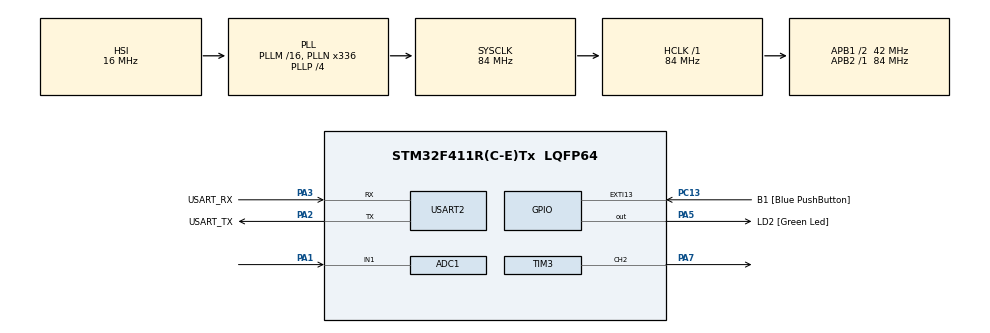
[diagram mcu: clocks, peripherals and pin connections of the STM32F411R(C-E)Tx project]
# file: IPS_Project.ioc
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ADC1.Channel-1\#ChannelRegularConversion=ADC_CHANNEL_1
ADC1.ContinuousConvMode=ENABLE
ADC1.NbrOfConversionFlag=1
ADC1.Rank-1\#ChannelRegularConversion=1
ADC1.SamplingTime-1\#ChannelRegularConversion=ADC_SAMPLETIME_3CYCLES
ADC1.master=1
Mcu.Family=STM32F4
Mcu.Name=STM32F411R(C-E)Tx
Mcu.Package=LQFP64
NVIC.PriorityGroup=NVIC_PRIORITYGROUP_0
PA1.Signal=SharedAnalog_PA1
PA13.GPIO_Label=TMS
PA13.Mode=Serial_Wire
PA13.Signal=SYS_JTMS-SWDIO
PA14.GPIO_Label=TCK
PA14.Mode=Serial_Wire
PA14.Signal=SYS_JTCK-SWCLK
PA2.GPIO_Label=USART_TX
PA2.Mode=Asynchronous
PA2.Signal=USART2_TX
PA3.GPIO_Label=USART_RX
PA3.Mode=Asynchronous
PA3.Signal=USART2_RX
PA5.GPIO_Label=LD2 [Green Led]
PA5.Signal=GPIO_Output
PA7.Signal=S_TIM3_CH2
PB3.GPIO_Label=SWO
PB3.Signal=SYS_JTDO-SWO
PC13-ANTI_TAMP.GPIO_Label=B1 [Blue PushButton]
PC13-ANTI_TAMP.GPIO_ModeDefaultEXTI=GPIO_MODE_IT_FALLING
PC13-ANTI_TAMP.Signal=GPXTI13
PC14-OSC32_IN.Mode=LSE-External-Oscillator
PC14-OSC32_IN.Signal=RCC_OSC32_IN
PC15-OSC32_OUT.Mode=LSE-External-Oscillator
PC15-OSC32_OUT.Signal=RCC_OSC32_OUT
PH0\ -\ OSC_IN.Mode=HSE-External-Clock-Source
PH0\ -\ OSC_IN.Signal=RCC_OSC_IN
PH1\ -\ OSC_OUT.Mode=HSE-External-Clock-Source
PH1\ -\ OSC_OUT.Signal=RCC_OSC_OUT
ProjectManager.HeapSize=0x200
ProjectManager.StackSize=0x400
ProjectManager.TargetToolchain=STM32CubeIDE
RCC.48MHZClocksFreq_Value=84000000
RCC.AHBFreq_Value=84000000
RCC.APB1CLKDivider=RCC_HCLK_DIV2
RCC.APB1Freq_Value=42000000
RCC.APB1TimFreq_Value=84000000
RCC.APB2Freq_Value=84000000
RCC.APB2TimFreq_Value=84000000
RCC.CortexFreq_Value=84000000
RCC.FLatency-AdvancedSettings=FLASH_LATENCY_2
RCC.HCLKFreq_Value=84000000
RCC.HSE_VALUE=8000000
RCC.HSI_VALUE=16000000
RCC.PLLN=336
RCC.PLLP=RCC_PLLP_DIV4
RCC.SYSCLKFreq_VALUE=84000000
RCC.SYSCLKSource=RCC_SYSCLKSOURCE_PLLCLK
RCC.VCOOutputFreq_Value=336000000
SH.S_TIM3_CH2.0=TIM3_CH2,PWM Generation2 CH2
SH.SharedAnalog_PA1.0=GPIO_Analog
SH.SharedAnalog_PA1.1=ADC1_IN1,IN1
TIM2.Period=9999
TIM2.Prescaler=1
TIM3.Channel-PWM\ Generation2\ CH2=TIM_CHANNEL_2
TIM3.Period=20000
TIM3.Prescaler=84
USART2.VirtualMode=VM_ASYNC
VP_TIM2_VS_ClockSourceINT.Mode=Internal
VP_TIM3_VS_ClockSourceINT.Mode=Internal
board=NUCLEO-F411RE

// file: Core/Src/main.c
/* USER CODE BEGIN Header */
/**
  ******************************************************************************
  * @file           : main.c
  * @brief          : Main program body
  ******************************************************************************
  * @attention
  *
  * Copyright (c) 2023 STMicroelectronics.
  * All rights reserved.
  *
  * This software is licensed under terms that can be found in the LICENSE file
  * in the root directory of this software component.
  * If no LICENSE file comes with this software, it is provided AS-IS.
  *
  ******************************************************************************
  */
/* USER CODE END Header */
#include "main.h"

ADC_HandleTypeDef hadc1;

TIM_HandleTypeDef htim2;
TIM_HandleTypeDef htim3;

UART_HandleTypeDef huart2;

void SystemClock_Config(void);
static void MX_GPIO_Init(void);
static void MX_USART2_UART_Init(void);
static void MX_ADC1_Init(void);
static void MX_TIM3_Init(void);
static void MX_TIM2_Init(void);

int main(void)
{

  /* MCU Configuration--------------------------------------------------------*/

  /* Reset of all peripherals, Initializes the Flash interface and the Systick. */
  HAL_Init();

  /* Configure the system clock */
  SystemClock_Config();

  /* Initialize all configured peripherals */
  MX_GPIO_Init();
  MX_USART2_UART_Init();
  MX_ADC1_Init();
  MX_TIM3_Init();
  MX_TIM2_Init();
  /* USER CODE BEGIN 2 */
  HAL_TIM_PWM_Start(&htim3, TIM_CHANNEL_2);
  int test_var = 0;
  /* USER CODE END 2 */

  /* Infinite loop */
  while (1)
  {

    /* USER CODE BEGIN 3 */
	HAL_ADC_Start(&hadc1);
	HAL_ADC_PollForEvent(&hadc1, ADC_OVR_EVENT, 10);
	uint32_t ADCValue = HAL_ADC_GetValue(&hadc1);
	float Voltage_Data=	ADCValue*(3.3/4095);

	char str[25];
	char str2[25];
	sprintf(str, "%.2f\r\n", Voltage_Data);
	snprintf(str2,25, "%lu\r\n", ADCValue);

	HAL_UART_Transmit(&huart2,(uint8_t*)str, strlen(str), 5000);
	HAL_UART_Transmit(&huart2,(uint8_t*)str2, strlen(str2), 5000);
/*
	char values[1];
	values[0] = str;
	//values[1] = str2;
	//values[2] = "hello";
	HAL_UART_Transmit(&huart2, (uint8_t*)values, sizeof(values), 5000);*/

	HAL_GPIO_TogglePin(GPIOA, GPIO_PIN_10);

	int x = (int)(1500 + 450*(Voltage_Data-2.2));
	if(abs(x - test_var) > 75)
	{
		__HAL_TIM_SET_COMPARE(&htim3,TIM_CHANNEL_2, x);
		test_var = x;
	}
	HAL_Delay(10);

  }
  /* USER CODE END 3 */
}

void SystemClock_Config(void)
{
  RCC_OscInitTypeDef RCC_OscInitStruct = {0};
  RCC_ClkInitTypeDef RCC_ClkInitStruct = {0};

  /** Configure the main internal regulator output voltage
  */
  __HAL_RCC_PWR_CLK_ENABLE();
  __HAL_PWR_VOLTAGESCALING_CONFIG(PWR_REGULATOR_VOLTAGE_SCALE1);

  /** Initializes the RCC Oscillators according to the specified parameters
  * in the RCC_OscInitTypeDef structure.
  */
  RCC_OscInitStruct.OscillatorType = RCC_OSCILLATORTYPE_HSI;
  RCC_OscInitStruct.HSIState = RCC_HSI_ON;
  RCC_OscInitStruct.HSICalibrationValue = RCC_HSICALIBRATION_DEFAULT;
  RCC_OscInitStruct.PLL.PLLState = RCC_PLL_ON;
  RCC_OscInitStruct.PLL.PLLSource = RCC_PLLSOURCE_HSI;
  RCC_OscInitStruct.PLL.PLLM = 16;
  RCC_OscInitStruct.PLL.PLLN = 336;
  RCC_OscInitStruct.PLL.PLLP = RCC_PLLP_DIV4;
  RCC_OscInitStruct.PLL.PLLQ = 4;
  if (HAL_RCC_OscConfig(&RCC_OscInitStruct) != HAL_OK)
  {
    Error_Handler();
  }

  /** Initializes the CPU, AHB and APB buses clocks
  */
  RCC_ClkInitStruct.ClockType = RCC_CLOCKTYPE_HCLK|RCC_CLOCKTYPE_SYSCLK
                              |RCC_CLOCKTYPE_PCLK1|RCC_CLOCKTYPE_PCLK2;
  RCC_ClkInitStruct.SYSCLKSource = RCC_SYSCLKSOURCE_PLLCLK;
  RCC_ClkInitStruct.AHBCLKDivider = RCC_SYSCLK_DIV1;
  RCC_ClkInitStruct.APB1CLKDivider = RCC_HCLK_DIV2;
  RCC_ClkInitStruct.APB2CLKDivider = RCC_HCLK_DIV1;

  if (HAL_RCC_ClockConfig(&RCC_ClkInitStruct, FLASH_LATENCY_2) != HAL_OK)
  {
    Error_Handler();
  }
}

static void MX_ADC1_Init(void)
{

  ADC_ChannelConfTypeDef sConfig = {0};

  /** Configure the global features of the ADC (Clock, Resolution, Data Alignment and number of conversion)
  */
  hadc1.Instance = ADC1;
  hadc1.Init.ClockPrescaler = ADC_CLOCK_SYNC_PCLK_DIV4;
  hadc1.Init.Resolution = ADC_RESOLUTION_12B;
  hadc1.Init.ScanConvMode = DISABLE;
  hadc1.Init.ContinuousConvMode = ENABLE;
  hadc1.Init.DiscontinuousConvMode = DISABLE;
  hadc1.Init.ExternalTrigConvEdge = ADC_EXTERNALTRIGCONVEDGE_NONE;
  hadc1.Init.ExternalTrigConv = ADC_SOFTWARE_START;
  hadc1.Init.DataAlign = ADC_DATAALIGN_RIGHT;
  hadc1.Init.NbrOfConversion = 1;
  hadc1.Init.DMAContinuousRequests = DISABLE;
  hadc1.Init.EOCSelection = ADC_EOC_SINGLE_CONV;
  if (HAL_ADC_Init(&hadc1) != HAL_OK)
  {
    Error_Handler();
  }

  /** Configure for the selected ADC regular channel its corresponding rank in the sequencer and its sample time.
  */
  sConfig.Channel = ADC_CHANNEL_1;
  sConfig.Rank = 1;
  sConfig.SamplingTime = ADC_SAMPLETIME_3CYCLES;
  if (HAL_ADC_ConfigChannel(&hadc1, &sConfig) != HAL_OK)
  {
    Error_Handler();
  }

}

static void MX_TIM2_Init(void)
{

  TIM_ClockConfigTypeDef sClockSourceConfig = {0};
  TIM_MasterConfigTypeDef sMasterConfig = {0};

  htim2.Instance = TIM2;
  htim2.Init.Prescaler = 1;
  htim2.Init.CounterMode = TIM_COUNTERMODE_UP;
  htim2.Init.Period = 9999;
  htim2.Init.ClockDivision = TIM_CLOCKDIVISION_DIV1;
  htim2.Init.AutoReloadPreload = TIM_AUTORELOAD_PRELOAD_DISABLE;
  if (HAL_TIM_Base_Init(&htim2) != HAL_OK)
  {
    Error_Handler();
  }
  sClockSourceConfig.ClockSource = TIM_CLOCKSOURCE_INTERNAL;
  if (HAL_TIM_ConfigClockSource(&htim2, &sClockSourceConfig) != HAL_OK)
  {
    Error_Handler();
  }
  sMasterConfig.MasterOutputTrigger = TIM_TRGO_RESET;
  sMasterConfig.MasterSlaveMode = TIM_MASTERSLAVEMODE_DISABLE;
  if (HAL_TIMEx_MasterConfigSynchronization(&htim2, &sMasterConfig) != HAL_OK)
  {
    Error_Handler();
  }

}

static void MX_TIM3_Init(void)
{

  TIM_ClockConfigTypeDef sClockSourceConfig = {0};
  TIM_MasterConfigTypeDef sMasterConfig = {0};
  TIM_OC_InitTypeDef sConfigOC = {0};

  htim3.Instance = TIM3;
  htim3.Init.Prescaler = 84;
  htim3.Init.CounterMode = TIM_COUNTERMODE_UP;
  htim3.Init.Period = 20000;
  htim3.Init.ClockDivision = TIM_CLOCKDIVISION_DIV1;
  htim3.Init.AutoReloadPreload = TIM_AUTORELOAD_PRELOAD_DISABLE;
  if (HAL_TIM_Base_Init(&htim3) != HAL_OK)
  {
    Error_Handler();
  }
  sClockSourceConfig.ClockSource = TIM_CLOCKSOURCE_INTERNAL;
  if (HAL_TIM_ConfigClockSource(&htim3, &sClockSourceConfig) != HAL_OK)
  {
    Error_Handler();
  }
  if (HAL_TIM_PWM_Init(&htim3) != HAL_OK)
  {
    Error_Handler();
  }
  sMasterConfig.MasterOutputTrigger = TIM_TRGO_RESET;
  sMasterConfig.MasterSlaveMode = TIM_MASTERSLAVEMODE_DISABLE;
  if (HAL_TIMEx_MasterConfigSynchronization(&htim3, &sMasterConfig) != HAL_OK)
  {
    Error_Handler();
  }
  sConfigOC.OCMode = TIM_OCMODE_PWM1;
  sConfigOC.Pulse = 0;
  sConfigOC.OCPolarity = TIM_OCPOLARITY_HIGH;
  sConfigOC.OCFastMode = TIM_OCFAST_DISABLE;
  if (HAL_TIM_PWM_ConfigChannel(&htim3, &sConfigOC, TIM_CHANNEL_2) != HAL_OK)
  {
    Error_Handler();
  }
  HAL_TIM_MspPostInit(&htim3);

}

static void MX_USART2_UART_Init(void)
{

  huart2.Instance = USART2;
  huart2.Init.BaudRate = 115200;
  huart2.Init.WordLength = UART_WORDLENGTH_8B;
  huart2.Init.StopBits = UART_STOPBITS_1;
  huart2.Init.Parity = UART_PARITY_NONE;
  huart2.Init.Mode = UART_MODE_TX_RX;
  huart2.Init.HwFlowCtl = UART_HWCONTROL_NONE;
  huart2.Init.OverSampling = UART_OVERSAMPLING_16;
  if (HAL_UART_Init(&huart2) != HAL_OK)
  {
    Error_Handler();
  }

}

static void MX_GPIO_Init(void)
{
  GPIO_InitTypeDef GPIO_InitStruct = {0};

  /* GPIO Ports Clock Enable */
  __HAL_RCC_GPIOC_CLK_ENABLE();
  __HAL_RCC_GPIOH_CLK_ENABLE();
  __HAL_RCC_GPIOA_CLK_ENABLE();
  __HAL_RCC_GPIOB_CLK_ENABLE();

  /*Configure GPIO pin Output Level */
  HAL_GPIO_WritePin(LD2_GPIO_Port, LD2_Pin, GPIO_PIN_RESET);

  /*Configure GPIO pin : B1_Pin */
  GPIO_InitStruct.Pin = B1_Pin;
  GPIO_InitStruct.Mode = GPIO_MODE_IT_FALLING;
  GPIO_InitStruct.Pull = GPIO_NOPULL;
  HAL_GPIO_Init(B1_GPIO_Port, &GPIO_InitStruct);

  /*Configure GPIO pin : LD2_Pin */
  GPIO_InitStruct.Pin = LD2_Pin;
  GPIO_InitStruct.Mode = GPIO_MODE_OUTPUT_PP;
  GPIO_InitStruct.Pull = GPIO_NOPULL;
  GPIO_InitStruct.Speed = GPIO_SPEED_FREQ_LOW;
  HAL_GPIO_Init(LD2_GPIO_Port, &GPIO_InitStruct);

}

void Error_Handler(void)
{
  __disable_irq();
  while (1)
  {
  }
}
